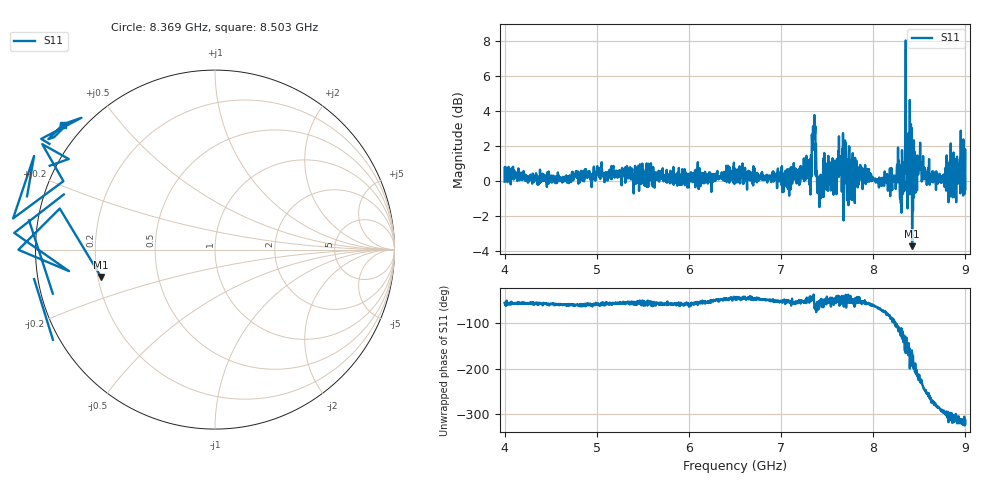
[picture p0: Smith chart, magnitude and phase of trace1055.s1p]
! Created with skrf 1.8.0 (http://scikit-rf.org).
# Hz S RI R 50.0
!freq ReS11 ImS11
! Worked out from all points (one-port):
!   1601 points, 4 GHz to 9 GHz, reference 50 ohm
!   lowest |S11| = -3.7 dB at 8.422 GHz (marker M1), VSWR 4.76, Z = 10.6 - j5.65 ohm
!   |S11| at or under -10 dB: nowhere
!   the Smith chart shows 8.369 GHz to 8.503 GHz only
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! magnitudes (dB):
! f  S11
! 4 GHz  0.0
! 4.625 GHz  -0.1
! 5.25 GHz  0.3
! 5.875 GHz  -0.3
! 6.5 GHz  0.7
! 7.125 GHz  0.5
! 7.306 GHz  -0.2
! 7.347 GHz  3.1
! 7.359 GHz  3.2
! 7.4 GHz  -0.2
! 7.416 GHz  -1.5
! 7.481 GHz  0.0
! 7.591 GHz  1.1
! 7.647 GHz  1.3
! 7.75 GHz  0.1
! 8.169 GHz  -0.3
! 8.259 GHz  0.9
! 8.312 GHz  1.8
! 8.322 GHz  -0.7
! 8.334 GHz  0.0
! 8.375 GHz  2.4
! 8.381 GHz  0.2
! 8.422 GHz  -3.7
! 8.447 GHz  1.7
! 8.497 GHz  0.8
! 8.8 GHz  0.4
! 8.956 GHz  -0.4
! 9 GHz  -0.5
